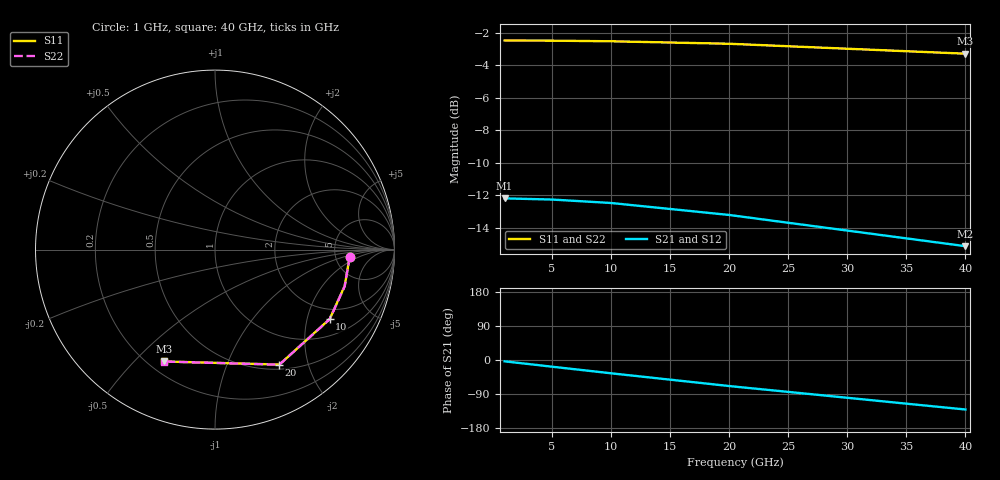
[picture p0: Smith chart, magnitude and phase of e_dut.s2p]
! Generated by circuitRF - EM: EMerge
! circuitRF-EM setup: g_zigzag_sheets
! circuitRF-EM layout: zigzag/layout/zigzag.clay
! circuitRF-EM written: 2026-11-04 17:22:23Z
! circuitRF-EM geometry: a9729e86fe6aff33
! circuitRF-EM mesh: ae32805cddc33b92
! circuitRF-EM ports: 8f8a5211b34b08b4
! circuitRF-EM model: EMerge 3.0.0b2
! Port[1] = port/1
! Port[2] = port/2
! circuitRF-EM port 1: 'port/1' from 'airbox/zmin' to 'Metal1/1', lumped, 50 Ohm
! circuitRF-EM port 2: 'port/2' from 'airbox/zmin' to 'Metal1/2', lumped, 50 Ohm
! circuitRF-EM 3D mesh: 3118 tetrahedra, element order 2
! circuitRF-EM 3D operating temperature: 20 C
! circuitRF-EM 3D run: preset Standard; 3118 tetrahedra; 21684 unknowns; 5 frequency sample(s)
! circuitRF-EM 3D run cost: wall 3 s; EMerge peak memory 1.2 GB
! circuitRF-EM 3D DC row: circuitRF conduction solve of the conductors, 472 elements, 0.21 s; ports as terminal pairs
! circuitRF-EM: re-running the EM setup rewrites this file. If circuitRF reports it as stale, the layout's cross-section changed after this file was written.
# GHz S RI R 50
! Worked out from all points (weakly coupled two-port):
!   5 points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, 1 GHz to 40 GHz, reference 50 ohm
!   highest |S21| = -12.20 dB at 1 GHz (marker M1); lowest = -15.1 dB at 40 GHz (marker M2)
!   lowest |S11| = -3.3 dB at 40 GHz (marker M3), VSWR 5.33, Z = 13.1 - j30.7 ohm
!   |S11| at or under -10 dB: nowhere
!   |S22| runs from -3.3 to -2.5 dB; largest |S21 - S12| = 6.8e-05
!   S11 on the Smith chart (normalised r, x): 1 GHz: 6.79, -1.29; 10 GHz: 1.57, -2.76; 20 GHz: 0.56, -1.56; 40 GHz: 0.26, -0.61
1  0.7503 -0.0414  0.245 -0.0151  0.2449 -0.0151  0.7508 -0.0415
5  0.7222 -0.2037  0.232 -0.0737  0.232 -0.0736  0.7226 -0.2039
10  0.6386 -0.3876  0.1945 -0.1364  0.1945 -0.1363  0.639 -0.3879
20  0.3582 -0.6406  0.0793 -0.2033  0.0793 -0.2033  0.3584 -0.6411
40  -0.2823 -0.6232  -0.114 -0.1327  -0.114 -0.1327  -0.2826 -0.6237
